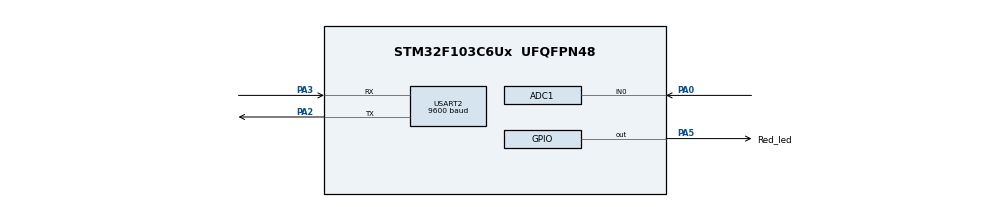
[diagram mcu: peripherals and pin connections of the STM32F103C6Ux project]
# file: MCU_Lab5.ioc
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ADC1.Channel-0\#ChannelRegularConversion=ADC_CHANNEL_0
ADC1.ContinuousConvMode=ENABLE
ADC1.NbrOfConversionFlag=1
ADC1.Rank-0\#ChannelRegularConversion=1
ADC1.SamplingTime-0\#ChannelRegularConversion=ADC_SAMPLETIME_1CYCLE_5
ADC1.master=1
Mcu.Family=STM32F1
Mcu.Name=STM32F103C6Ux
Mcu.Package=UFQFPN48
NVIC.PriorityGroup=NVIC_PRIORITYGROUP_4
NVIC.TIM2_IRQn=true\:0\:0\:false\:false\:true\:true\:true
NVIC.USART2_IRQn=true\:0\:0\:false\:false\:true\:true\:true
PA0-WKUP.Signal=ADCx_IN0
PA2.Mode=Asynchronous
PA2.Signal=USART2_TX
PA3.Mode=Asynchronous
PA3.Signal=USART2_RX
PA5.GPIO_Label=Red_led
PA5.Signal=GPIO_Output
ProjectManager.HeapSize=0x200
ProjectManager.StackSize=0x400
ProjectManager.TargetToolchain=STM32CubeIDE
RCC.APB1Freq_Value=8000000
RCC.APB2Freq_Value=8000000
SH.ADCx_IN0.0=ADC1_IN0,IN0
TIM2.Period=9
TIM2.Prescaler=7999
USART2.BaudRate=9600
USART2.VirtualMode=VM_ASYNC
VP_SYS_VS_ND.Mode=No_Debug
VP_TIM2_VS_ClockSourceINT.Mode=Internal
board=custom

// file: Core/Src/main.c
/* USER CODE BEGIN Header */
/**
  ******************************************************************************
  * @file           : main.c
  * @brief          : Main program body
  ******************************************************************************
  * @attention
  *
  * <h2><center>&copy; Copyright (c) 2025 STMicroelectronics.
  * All rights reserved.</center></h2>
  *
  * This software component is licensed by ST under BSD 3-Clause license,
  * the "License"; You may not use this file except in compliance with the
  * License. You may obtain a copy of the License at:
  *                        opensource.org/licenses/BSD-3-Clause
  *
  ******************************************************************************
  */
/* USER CODE END Header */
#include "main.h"

/* USER CODE BEGIN Includes */
#include "global.h"
#include "command_parser.h"
#include "uart_communication_fsm.h"
#include "software_timer.h"
/* USER CODE END Includes */

ADC_HandleTypeDef hadc1;

TIM_HandleTypeDef htim2;

UART_HandleTypeDef huart2;

void SystemClock_Config(void);
static void MX_GPIO_Init(void);
static void MX_ADC1_Init(void);
static void MX_USART2_UART_Init(void);
static void MX_TIM2_Init(void);

/* USER CODE BEGIN 0 */
 void HAL_UART_RxCpltCallback(UART_HandleTypeDef *huart){
	 if(huart->Instance == USART2){
	 		// �?ẩy dữ liệu vào buffer
	 		buffer[index_buffer++] = temp;
	 		if(index_buffer == 30) index_buffer = 0;

	 		buffer_flag = 1; // Báo hiệu cho main xử lý

	 		HAL_UART_Receive_IT(&huart2, &temp, 1); // Tiếp tục nhận
	 	}
}

 void HAL_TIM_PeriodElapsedCallback(TIM_HandleTypeDef *htim){
     if(htim->Instance == TIM2){
         timerRun(); // Gọi hàm trừ thời gian trong software_timer.c
     }
 }
/* USER CODE END 0 */

int main(void)
{
  /* USER CODE BEGIN 1 */
	  setTimer2(50);

  /* USER CODE END 1 */

  /* MCU Configuration--------------------------------------------------------*/

  /* Reset of all peripherals, Initializes the Flash interface and the Systick. */
  HAL_Init();

  /* Configure the system clock */
  SystemClock_Config();

  /* Initialize all configured peripherals */
  MX_GPIO_Init();
  MX_ADC1_Init();
  MX_USART2_UART_Init();
  MX_TIM2_Init();
  /* USER CODE BEGIN 2 */
HAL_TIM_Base_Start_IT(&htim2);
  HAL_ADC_Start(&hadc1);
  HAL_UART_Receive_IT(&huart2, &temp, 1);
  /* USER CODE END 2 */

  /* Infinite loop */

  while (1)
  {

    /* USER CODE BEGIN 3 */
	  // 1. Xử lý Parser
	      if(buffer_flag == 1){
	          command_parser_fsm();
	          buffer_flag = 0;
	      }

	      // 2. Xử lý giao tiếp UART
	      uart_communiation_fsm();

		  if(timer2_flag==1){
			  HAL_GPIO_TogglePin(Red_led_GPIO_Port, Red_led_Pin);
			  setTimer2(50);
		  }
  }
  /* USER CODE END 3 */
}

void SystemClock_Config(void)
{
  RCC_OscInitTypeDef RCC_OscInitStruct = {0};
  RCC_ClkInitTypeDef RCC_ClkInitStruct = {0};
  RCC_PeriphCLKInitTypeDef PeriphClkInit = {0};

  /** Initializes the RCC Oscillators according to the specified parameters
  * in the RCC_OscInitTypeDef structure.
  */
  RCC_OscInitStruct.OscillatorType = RCC_OSCILLATORTYPE_HSI;
  RCC_OscInitStruct.HSIState = RCC_HSI_ON;
  RCC_OscInitStruct.HSICalibrationValue = RCC_HSICALIBRATION_DEFAULT;
  RCC_OscInitStruct.PLL.PLLState = RCC_PLL_NONE;
  if (HAL_RCC_OscConfig(&RCC_OscInitStruct) != HAL_OK)
  {
    Error_Handler();
  }
  /** Initializes the CPU, AHB and APB buses clocks
  */
  RCC_ClkInitStruct.ClockType = RCC_CLOCKTYPE_HCLK|RCC_CLOCKTYPE_SYSCLK
                              |RCC_CLOCKTYPE_PCLK1|RCC_CLOCKTYPE_PCLK2;
  RCC_ClkInitStruct.SYSCLKSource = RCC_SYSCLKSOURCE_HSI;
  RCC_ClkInitStruct.AHBCLKDivider = RCC_SYSCLK_DIV1;
  RCC_ClkInitStruct.APB1CLKDivider = RCC_HCLK_DIV1;
  RCC_ClkInitStruct.APB2CLKDivider = RCC_HCLK_DIV1;

  if (HAL_RCC_ClockConfig(&RCC_ClkInitStruct, FLASH_LATENCY_0) != HAL_OK)
  {
    Error_Handler();
  }
  PeriphClkInit.PeriphClockSelection = RCC_PERIPHCLK_ADC;
  PeriphClkInit.AdcClockSelection = RCC_ADCPCLK2_DIV2;
  if (HAL_RCCEx_PeriphCLKConfig(&PeriphClkInit) != HAL_OK)
  {
    Error_Handler();
  }
}

static void MX_ADC1_Init(void)
{

  ADC_ChannelConfTypeDef sConfig = {0};

  /** Common config
  */
  hadc1.Instance = ADC1;
  hadc1.Init.ScanConvMode = ADC_SCAN_DISABLE;
  hadc1.Init.ContinuousConvMode = ENABLE;
  hadc1.Init.DiscontinuousConvMode = DISABLE;
  hadc1.Init.ExternalTrigConv = ADC_SOFTWARE_START;
  hadc1.Init.DataAlign = ADC_DATAALIGN_RIGHT;
  hadc1.Init.NbrOfConversion = 1;
  if (HAL_ADC_Init(&hadc1) != HAL_OK)
  {
    Error_Handler();
  }
  /** Configure Regular Channel
  */
  sConfig.Channel = ADC_CHANNEL_0;
  sConfig.Rank = ADC_REGULAR_RANK_1;
  sConfig.SamplingTime = ADC_SAMPLETIME_1CYCLE_5;
  if (HAL_ADC_ConfigChannel(&hadc1, &sConfig) != HAL_OK)
  {
    Error_Handler();
  }

}

static void MX_TIM2_Init(void)
{

  TIM_ClockConfigTypeDef sClockSourceConfig = {0};
  TIM_MasterConfigTypeDef sMasterConfig = {0};

  htim2.Instance = TIM2;
  htim2.Init.Prescaler = 7999;
  htim2.Init.CounterMode = TIM_COUNTERMODE_UP;
  htim2.Init.Period = 9;
  htim2.Init.ClockDivision = TIM_CLOCKDIVISION_DIV1;
  htim2.Init.AutoReloadPreload = TIM_AUTORELOAD_PRELOAD_DISABLE;
  if (HAL_TIM_Base_Init(&htim2) != HAL_OK)
  {
    Error_Handler();
  }
  sClockSourceConfig.ClockSource = TIM_CLOCKSOURCE_INTERNAL;
  if (HAL_TIM_ConfigClockSource(&htim2, &sClockSourceConfig) != HAL_OK)
  {
    Error_Handler();
  }
  sMasterConfig.MasterOutputTrigger = TIM_TRGO_RESET;
  sMasterConfig.MasterSlaveMode = TIM_MASTERSLAVEMODE_DISABLE;
  if (HAL_TIMEx_MasterConfigSynchronization(&htim2, &sMasterConfig) != HAL_OK)
  {
    Error_Handler();
  }

}

static void MX_USART2_UART_Init(void)
{

  huart2.Instance = USART2;
  huart2.Init.BaudRate = 9600;
  huart2.Init.WordLength = UART_WORDLENGTH_8B;
  huart2.Init.StopBits = UART_STOPBITS_1;
  huart2.Init.Parity = UART_PARITY_NONE;
  huart2.Init.Mode = UART_MODE_TX_RX;
  huart2.Init.HwFlowCtl = UART_HWCONTROL_NONE;
  huart2.Init.OverSampling = UART_OVERSAMPLING_16;
  if (HAL_UART_Init(&huart2) != HAL_OK)
  {
    Error_Handler();
  }

}

static void MX_GPIO_Init(void)
{
  GPIO_InitTypeDef GPIO_InitStruct = {0};

  /* GPIO Ports Clock Enable */
  __HAL_RCC_GPIOA_CLK_ENABLE();

  /*Configure GPIO pin Output Level */
  HAL_GPIO_WritePin(Red_led_GPIO_Port, Red_led_Pin, GPIO_PIN_RESET);

  /*Configure GPIO pin : Red_led_Pin */
  GPIO_InitStruct.Pin = Red_led_Pin;
  GPIO_InitStruct.Mode = GPIO_MODE_OUTPUT_PP;
  GPIO_InitStruct.Pull = GPIO_NOPULL;
  GPIO_InitStruct.Speed = GPIO_SPEED_FREQ_LOW;
  HAL_GPIO_Init(Red_led_GPIO_Port, &GPIO_InitStruct);

}

void Error_Handler(void)
{
  __disable_irq();
  while (1)
  {
  }
}

/************************ (C) COPYRIGHT STMicroelectronics *****END OF FILE****/
